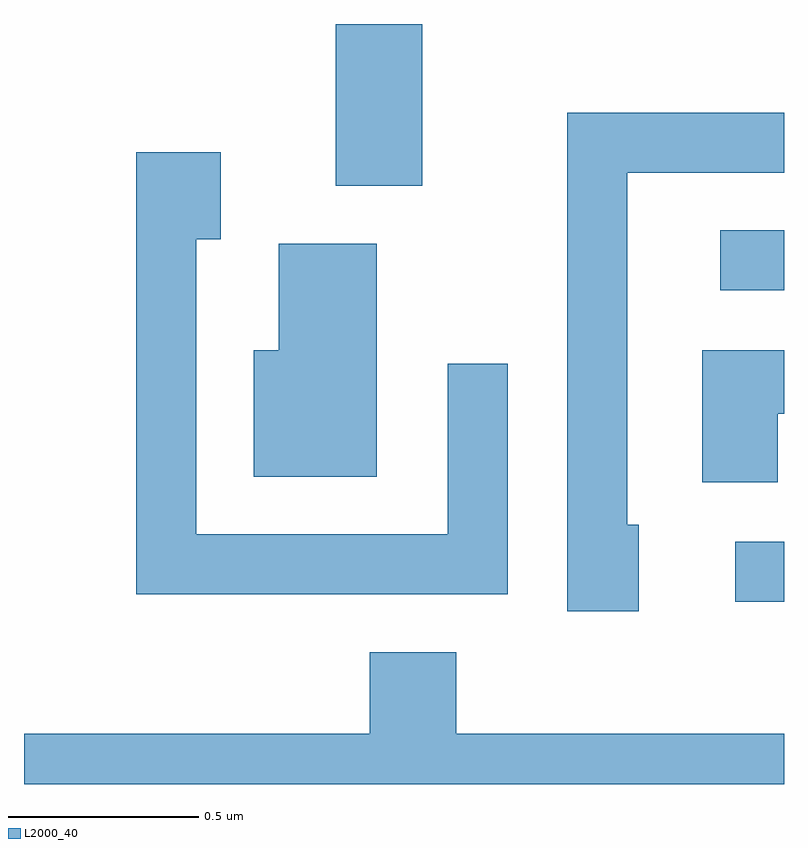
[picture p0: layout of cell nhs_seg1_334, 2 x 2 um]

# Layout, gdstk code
import gdstk
lib = gdstk.Library(unit=1e-6, precision=1e-09)
def R(c, l, rs):  # rectangles x0, y0, x1, y1
    for r in rs: c.add(gdstk.rectangle(r[:2], r[2:], *l))
def P(c, l, *ps):  # polygons
    for p in ps: c.add(gdstk.Polygon(p, *l))
L2000_40 = (2000, 40)

nhs_seg1_334 = lib.new_cell('nhs_seg1_334')
R(nhs_seg1_334, L2000_40, [(189.483,900.191,189.611,900.349), (189.443,901.011,189.611,901.169), (188.431,901.286,188.659,901.712)])
P(nhs_seg1_334, L2000_40, [(189.229,900.394),(189.199,900.394),(189.199,901.321),(189.611,901.321),(189.611,901.479),(189.041,901.479),(189.041,900.166),(189.229,900.166)],
  [(188.884,900.818),(188.726,900.818),(188.726,900.369),(188.064,900.369),(188.064,901.146),(188.129,901.146),(188.129,901.374),(187.906,901.374),(187.906,900.211),(188.884,900.211)],
  [(188.539,901.134),(188.281,901.134),(188.281,900.854),(188.216,900.854),(188.216,900.521),(188.539,900.521)],
  [(189.594,900.686),(189.611,900.686),(189.611,900.854),(189.396,900.854),(189.396,900.506),(189.594,900.506)],
  [(189.611,899.844),(188.749,899.844),(188.749,900.059),(188.521,900.059),(188.521,899.844),(187.611,899.844),(187.611,899.712),(189.611,899.712)])

lib.write_gds('nhs_seg1_334.gds')
